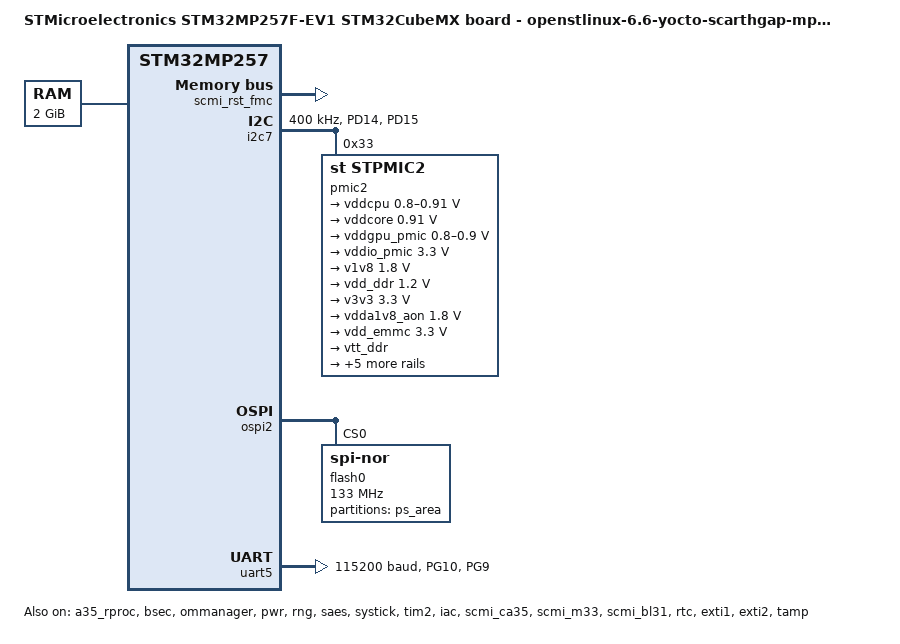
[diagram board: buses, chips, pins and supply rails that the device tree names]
/dts-v1/;
#include "dt-bindings/clock/stm32mp25-clksrc.h"
#include "dt-bindings/reset/stm32mp25-resets.h"
#include <dt-bindings/pinctrl/stm32-pinfunc.h>
#include <dt-bindings/rif/stm32mp25-rif.h>
#include <dt-bindings/rif/stm32mp25-rifsc.h>
#include <dt-bindings/rif/stm32mp2-risaf.h>
#include <dt-bindings/rif/stm32mp25-risab.h>
#include "stm32mp257.dtsi"
#include "stm32mp257f-board_257f-ev1_m33td-mx-rcc.dtsi"
#include "stm32mp257f-board_257f-ev1_m33td-mx-resmem.dtsi"
#include "stm32mp257f-board_257f-ev1_m33td-mx-rif.dtsi"
#include "stm32mp25xxai-pinctrl.dtsi"

/* USER CODE BEGIN includes */
#include <dt-bindings/clock/stm32mp25-clksrc.h>
#include <dt-bindings/ipcc/stm32mp25-ipcc.h>
#include <dt-bindings/power/stm32mp25-power.h>
#include <dt-bindings/regulator/stm32mp25-regulator.h>
#include <dt-bindings/reset/st,stm32mp25-rcc.h>
/* USER CODE END includes */

/{
	model = "STMicroelectronics STM32MP257F-EV1 STM32CubeMX board - openstlinux-6.6-yocto-scarthgap-mpu-v25.01.03";
	compatible = "st,stm32mp257f-board_257f-ev1_m33td-mx", "st,stm32mp257f-ev1", "st,stm32mp257";

	/* USER CODE BEGIN root */
	stm32mp25-scmi-rst {
		scmi_rst_fmc:scmi_rst_fmc {
			compatible = "st,stm32mp25-scmi-rst";
			resets = <&rcc_reset FMC_R>;
			reset-names = "fmc";
			scmi-id = <RST_SCMI_FMC>;
		};
	};

	stm32mp25-scmi-clk {
		scmi_clk_icn_sdmmc:ck_icn_sdmmc {
			compatible = "st,stm32mp25-scmi-clk";
			clocks = <&rcc CK_ICN_SDMMC>;
			scmi-id = <CK_SCMI_ICN_SDMMC>;
		};
		scmi_clk_icn_ddr:ck_icn_ddr {
			compatible = "st,stm32mp25-scmi-clk";
			clocks = <&rcc CK_ICN_DDR>;
			scmi-id = <CK_SCMI_ICN_DDR>;
		};
		scmi_clk_icn_display:ck_icn_display {
			compatible = "st,stm32mp25-scmi-clk";
			clocks = <&rcc CK_ICN_DISPLAY>;
			scmi-id = <CK_SCMI_ICN_DISPLAY>;
		};
		scmi_clk_icn_hsl:ck_icn_hsl {
			compatible = "st,stm32mp25-scmi-clk";
			clocks = <&rcc CK_ICN_HSL>;
			scmi-id = <CK_SCMI_ICN_HSL>;
		};
		scmi_clk_icn_nic:ck_icn_nic {
			compatible = "st,stm32mp25-scmi-clk";
			clocks = <&rcc CK_ICN_NIC>;
			scmi-id = <CK_SCMI_ICN_NIC>;
		};
		scmi_clk_icn_vid:ck_icn_vid {
			compatible = "st,stm32mp25-scmi-clk";
			clocks = <&rcc CK_ICN_VID>;
			scmi-id = <CK_SCMI_ICN_VID>;
		};
			scmi_clk_flexgen_07:ck_flexgen_07 {
			compatible = "st,stm32mp25-scmi-clk";
			clocks = <&rcc CK_FLEXGEN_07>;
			scmi-id = <CK_SCMI_FLEXGEN_07>;
		};
		scmi_clk_flexgen_08:ck_flexgen_08 {
			compatible = "st,stm32mp25-scmi-clk";
			clocks = <&rcc CK_FLEXGEN_08>;
			scmi-id = <CK_SCMI_FLEXGEN_08>;
		};
		scmi_clk_flexgen_09:ck_flexgen_09 {
			compatible = "st,stm32mp25-scmi-clk";
			clocks = <&rcc CK_FLEXGEN_09>;
			scmi-id = <CK_SCMI_FLEXGEN_09>;
		};
		scmi_clk_flexgen_10:ck_flexgen_10 {
			compatible = "st,stm32mp25-scmi-clk";
			clocks = <&rcc CK_FLEXGEN_10>;
			scmi-id = <CK_SCMI_FLEXGEN_10>;
			rate;
		};
		scmi_clk_flexgen_11:ck_flexgen_11 {
			compatible = "st,stm32mp25-scmi-clk";
			clocks = <&rcc CK_FLEXGEN_11>;
			scmi-id = <CK_SCMI_FLEXGEN_11>;
		};
		scmi_clk_flexgen_12:ck_flexgen_12 {
			compatible = "st,stm32mp25-scmi-clk";
			clocks = <&rcc CK_FLEXGEN_12>;
			scmi-id = <CK_SCMI_FLEXGEN_12>;
		};
		scmi_clk_flexgen_13:ck_flexgen_13 {
			compatible = "st,stm32mp25-scmi-clk";
			clocks = <&rcc CK_FLEXGEN_13>;
			scmi-id = <CK_SCMI_FLEXGEN_13>;
		};
		scmi_clk_flexgen_14:ck_flexgen_14 {
			compatible = "st,stm32mp25-scmi-clk";
			clocks = <&rcc CK_FLEXGEN_14>;
			scmi-id = <CK_SCMI_FLEXGEN_14>;
		};
		scmi_clk_flexgen_15:ck_flexgen_15 {
			compatible = "st,stm32mp25-scmi-clk";
			clocks = <&rcc CK_FLEXGEN_15>;
			scmi-id = <CK_SCMI_FLEXGEN_15>;
		};
		scmi_clk_flexgen_16:ck_flexgen_16 {
			compatible = "st,stm32mp25-scmi-clk";
			clocks = <&rcc CK_FLEXGEN_16>;
			scmi-id = <CK_SCMI_FLEXGEN_16>;
			rate;
		};
		scmi_clk_flexgen_17:ck_flexgen_17 {
			compatible = "st,stm32mp25-scmi-clk";
			clocks = <&rcc CK_FLEXGEN_17>;
			scmi-id = <CK_SCMI_FLEXGEN_17>;
		};
		scmi_clk_flexgen_18:ck_flexgen_18 {
			compatible = "st,stm32mp25-scmi-clk";
			clocks = <&rcc CK_FLEXGEN_18>;
			scmi-id = <CK_SCMI_FLEXGEN_18>;
		};
		scmi_clk_flexgen_19:ck_flexgen_19 {
			compatible = "st,stm32mp25-scmi-clk";
			clocks = <&rcc CK_FLEXGEN_19>;
			scmi-id = <CK_SCMI_FLEXGEN_19>;
		};
		scmi_clk_flexgen_20:ck_flexgen_20 {
			compatible = "st,stm32mp25-scmi-clk";
			clocks = <&rcc CK_FLEXGEN_20>;
			scmi-id = <CK_SCMI_FLEXGEN_20>;
		};
		scmi_clk_flexgen_21:ck_flexgen_21 {
			compatible = "st,stm32mp25-scmi-clk";
			clocks = <&rcc CK_FLEXGEN_21>;
			scmi-id = <CK_SCMI_FLEXGEN_21>;
		};
		scmi_clk_flexgen_22:ck_flexgen_22 {
			compatible = "st,stm32mp25-scmi-clk";
			clocks = <&rcc CK_FLEXGEN_22>;
			scmi-id = <CK_SCMI_FLEXGEN_22>;
		};
		scmi_clk_flexgen_23:ck_flexgen_23 {
			compatible = "st,stm32mp25-scmi-clk";
			clocks = <&rcc CK_FLEXGEN_23>;
			scmi-id = <CK_SCMI_FLEXGEN_23>;
			rate;
		};
		scmi_clk_flexgen_24:ck_flexgen_24 {
			compatible = "st,stm32mp25-scmi-clk";
			clocks = <&rcc CK_FLEXGEN_24>;
			scmi-id = <CK_SCMI_FLEXGEN_24>;
			rate;
		};
		scmi_clk_flexgen_25:ck_flexgen_25 {
			compatible = "st,stm32mp25-scmi-clk";
			clocks = <&rcc CK_FLEXGEN_25>;
			scmi-id = <CK_SCMI_FLEXGEN_25>;
			rate;
		};
		scmi_clk_flexgen_26:ck_flexgen_26 {
			compatible = "st,stm32mp25-scmi-clk";
			clocks = <&rcc CK_FLEXGEN_26>;
			scmi-id = <CK_SCMI_FLEXGEN_26>;
		};
		scmi_clk_flexgen_27:ck_flexgen_27 {
			compatible = "st,stm32mp25-scmi-clk";
			clocks = <&rcc CK_FLEXGEN_27>;
			scmi-id = <CK_SCMI_FLEXGEN_27>;
			rate;
		};
		scmi_clk_flexgen_28:ck_flexgen_28 {
			compatible = "st,stm32mp25-scmi-clk";
			clocks = <&rcc CK_FLEXGEN_28>;
			scmi-id = <CK_SCMI_FLEXGEN_28>;
		};
		scmi_clk_flexgen_29:ck_flexgen_29 {
			compatible = "st,stm32mp25-scmi-clk";
			clocks = <&rcc CK_FLEXGEN_29>;
			scmi-id = <CK_SCMI_FLEXGEN_29>;
		};
		scmi_clk_flexgen_30:ck_flexgen_30 {
			compatible = "st,stm32mp25-scmi-clk";
			clocks = <&rcc CK_FLEXGEN_30>;
			scmi-id = <CK_SCMI_FLEXGEN_30>;
		};
		scmi_clk_flexgen_31:ck_flexgen_31 {
			compatible = "st,stm32mp25-scmi-clk";
			clocks = <&rcc CK_FLEXGEN_31>;
			scmi-id = <CK_SCMI_FLEXGEN_31>;
		};
		scmi_clk_flexgen_32:ck_flexgen_32 {
			compatible = "st,stm32mp25-scmi-clk";
			clocks = <&rcc CK_FLEXGEN_32>;
			scmi-id = <CK_SCMI_FLEXGEN_32>;
		};
		scmi_clk_flexgen_33:ck_flexgen_33 {
			compatible = "st,stm32mp25-scmi-clk";
			clocks = <&rcc CK_FLEXGEN_33>;
			scmi-id = <CK_SCMI_FLEXGEN_33>;
		};
		scmi_clk_flexgen_34:ck_flexgen_34 {
			compatible = "st,stm32mp25-scmi-clk";
			clocks = <&rcc CK_FLEXGEN_34>;
			scmi-id = <CK_SCMI_FLEXGEN_34>;
		};
		scmi_clk_flexgen_35:ck_flexgen_35 {
			compatible = "st,stm32mp25-scmi-clk";
			clocks = <&rcc CK_FLEXGEN_35>;
			scmi-id = <CK_SCMI_FLEXGEN_35>;
		};
		scmi_clk_flexgen_36:ck_flexgen_36 {
			compatible = "st,stm32mp25-scmi-clk";
			clocks = <&rcc CK_FLEXGEN_36>;
			scmi-id = <CK_SCMI_FLEXGEN_36>;
		};
		scmi_clk_flexgen_37:ck_flexgen_37 {
			compatible = "st,stm32mp25-scmi-clk";
			clocks = <&rcc CK_FLEXGEN_37>;
			scmi-id = <CK_SCMI_FLEXGEN_37>;
		};
		scmi_clk_flexgen_38:ck_flexgen_38 {
			compatible = "st,stm32mp25-scmi-clk";
			clocks = <&rcc CK_FLEXGEN_38>;
			scmi-id = <CK_SCMI_FLEXGEN_38>;
		};
		scmi_clk_flexgen_39:ck_flexgen_39 {
			compatible = "st,stm32mp25-scmi-clk";
			clocks = <&rcc CK_FLEXGEN_39>;
			scmi-id = <CK_SCMI_FLEXGEN_39>;
		};
		scmi_clk_flexgen_40:ck_flexgen_40 {
			compatible = "st,stm32mp25-scmi-clk";
			clocks = <&rcc CK_FLEXGEN_40>;
			scmi-id = <CK_SCMI_FLEXGEN_40>;
		};
		scmi_clk_flexgen_41:ck_flexgen_41 {
			compatible = "st,stm32mp25-scmi-clk";
			clocks = <&rcc CK_FLEXGEN_41>;
			scmi-id = <CK_SCMI_FLEXGEN_41>;
		};
		scmi_clk_flexgen_42:ck_flexgen_42 {
			compatible = "st,stm32mp25-scmi-clk";
			clocks = <&rcc CK_FLEXGEN_42>;
			scmi-id = <CK_SCMI_FLEXGEN_42>;
		};
		scmi_clk_flexgen_43:ck_flexgen_43 {
			compatible = "st,stm32mp25-scmi-clk";
			clocks = <&rcc CK_FLEXGEN_43>;
			scmi-id = <CK_SCMI_FLEXGEN_43>;
		};
		scmi_clk_flexgen_44:ck_flexgen_44 {
			compatible = "st,stm32mp25-scmi-clk";
			clocks = <&rcc CK_FLEXGEN_44>;
			scmi-id = <CK_SCMI_FLEXGEN_44>;
		};
		scmi_clk_flexgen_45:ck_flexgen_45 {
			compatible = "st,stm32mp25-scmi-clk";
			clocks = <&rcc CK_FLEXGEN_45>;
			scmi-id = <CK_SCMI_FLEXGEN_45>;
		};
		scmi_clk_flexgen_46:ck_flexgen_46 {
			compatible = "st,stm32mp25-scmi-clk";
			clocks = <&rcc CK_FLEXGEN_46>;
			scmi-id = <CK_SCMI_FLEXGEN_46>;
		};
		scmi_clk_flexgen_47:ck_flexgen_47 {
			compatible = "st,stm32mp25-scmi-clk";
			clocks = <&rcc CK_FLEXGEN_47>;
			scmi-id = <CK_SCMI_FLEXGEN_47>;
		};
		scmi_clk_flexgen_48:ck_flexgen_48 {
			compatible = "st,stm32mp25-scmi-clk";
			clocks = <&rcc CK_FLEXGEN_48>;
			scmi-id = <CK_SCMI_FLEXGEN_48>;
		};
		scmi_clk_flexgen_49:ck_flexgen_49 {
			compatible = "st,stm32mp25-scmi-clk";
			clocks = <&rcc CK_FLEXGEN_49>;
			scmi-id = <CK_SCMI_FLEXGEN_49>;
		};
		scmi_clk_flexgen_50:ck_flexgen_50 {
			compatible = "st,stm32mp25-scmi-clk";
			clocks = <&rcc CK_FLEXGEN_50>;
			scmi-id = <CK_SCMI_FLEXGEN_50>;
		};
		scmi_clk_flexgen_51:ck_flexgen_51 {
			compatible = "st,stm32mp25-scmi-clk";
			clocks = <&rcc CK_FLEXGEN_51>;
			scmi-id = <CK_SCMI_FLEXGEN_51>;
		};
		scmi_clk_flexgen_52:ck_flexgen_52 {
			compatible = "st,stm32mp25-scmi-clk";
			clocks = <&rcc CK_FLEXGEN_52>;
			scmi-id = <CK_SCMI_FLEXGEN_52>;
		};
		scmi_clk_flexgen_53:ck_flexgen_53 {
			compatible = "st,stm32mp25-scmi-clk";
			clocks = <&rcc CK_FLEXGEN_53>;
			scmi-id = <CK_SCMI_FLEXGEN_53>;
		};
		scmi_clk_flexgen_54:ck_flexgen_54 {
			compatible = "st,stm32mp25-scmi-clk";
			clocks = <&rcc CK_FLEXGEN_54>;
			scmi-id = <CK_SCMI_FLEXGEN_54>;
		};
		scmi_clk_flexgen_55:ck_flexgen_55 {
			compatible = "st,stm32mp25-scmi-clk";
			clocks = <&rcc CK_FLEXGEN_55>;
			scmi-id = <CK_SCMI_FLEXGEN_55>;
		};
		scmi_clk_flexgen_56:ck_flexgen_56 {
			compatible = "st,stm32mp25-scmi-clk";
			clocks = <&rcc CK_FLEXGEN_56>;
			scmi-id = <CK_SCMI_FLEXGEN_56>;
		};
		scmi_clk_flexgen_57:ck_flexgen_57 {
			compatible = "st,stm32mp25-scmi-clk";
			clocks = <&rcc CK_FLEXGEN_57>;
			scmi-id = <CK_SCMI_FLEXGEN_57>;
		};
		scmi_clk_flexgen_58:ck_flexgen_58 {
			compatible = "st,stm32mp25-scmi-clk";
			clocks = <&rcc CK_FLEXGEN_58>;
			scmi-id = <CK_SCMI_FLEXGEN_58>;
		};
		scmi_clk_flexgen_59:ck_flexgen_59 {
			compatible = "st,stm32mp25-scmi-clk";
			clocks = <&rcc CK_FLEXGEN_59>;
			scmi-id = <CK_SCMI_FLEXGEN_59>;
		};
		scmi_clk_flexgen_60:ck_flexgen_60 {
			compatible = "st,stm32mp25-scmi-clk";
			clocks = <&rcc CK_FLEXGEN_60>;
			scmi-id = <CK_SCMI_FLEXGEN_60>;
		};
		scmi_clk_flexgen_61:ck_flexgen_61 {
			compatible = "st,stm32mp25-scmi-clk";
			clocks = <&rcc CK_FLEXGEN_61>;
			scmi-id = <CK_SCMI_FLEXGEN_61>;
		};
		scmi_clk_flexgen_62:ck_flexgen_62 {
			compatible = "st,stm32mp25-scmi-clk";
			clocks = <&rcc CK_FLEXGEN_62>;
			scmi-id = <CK_SCMI_FLEXGEN_62>;
		};
		scmi_clk_flexgen_63:ck_flexgen_63 {
			compatible = "st,stm32mp25-scmi-clk";
			clocks = <&rcc CK_FLEXGEN_63>;
			scmi-id = <CK_SCMI_FLEXGEN_63>;
		};
		scmi_clk_gpioa:ck_bus_gpioa {
			compatible = "st,stm32mp25-scmi-clk";
			clocks = <&rcc CK_BUS_GPIOA>;
			scmi-id = <CK_SCMI_GPIOA>;
		};
		scmi_clk_gpiob:ck_bus_gpiob {
			compatible = "st,stm32mp25-scmi-clk";
			clocks = <&rcc CK_BUS_GPIOB>;
			scmi-id = <CK_SCMI_GPIOB>;
		};
		scmi_clk_gpioc:ck_bus_gpioc {
			compatible = "st,stm32mp25-scmi-clk";
			clocks = <&rcc CK_BUS_GPIOC>;
			scmi-id = <CK_SCMI_GPIOC>;
		};
		scmi_clk_gpiod:ck_bus_gpiod {
			compatible = "st,stm32mp25-scmi-clk";
			clocks = <&rcc CK_BUS_GPIOD>;
			scmi-id = <CK_SCMI_GPIOD>;
		};
		scmi_clk_gpioe:ck_bus_gpioe {
			compatible = "st,stm32mp25-scmi-clk";
			clocks = <&rcc CK_BUS_GPIOE>;
			scmi-id = <CK_SCMI_GPIOE>;
		};
		scmi_clk_gpiof:ck_bus_gpiof {
			compatible = "st,stm32mp25-scmi-clk";
			clocks = <&rcc CK_BUS_GPIOF>;
			scmi-id = <CK_SCMI_GPIOF>;
		};
		scmi_clk_gpiog:ck_bus_gpiog {
			compatible = "st,stm32mp25-scmi-clk";
			clocks = <&rcc CK_BUS_GPIOG>;
			scmi-id = <CK_SCMI_GPIOG>;
		};
		scmi_clk_gpioh: scmi_clk_gpioh {
			compatible = "st,stm32mp25-scmi-clk";
			clocks = <&rcc CK_BUS_GPIOH>;
			scmi-id = <CK_SCMI_GPIOH>;
		};
		scmi_clk_gpioi:ck_bus_gpioi {
			compatible = "st,stm32mp25-scmi-clk";
			clocks = <&rcc CK_BUS_GPIOI>;
			scmi-id = <CK_SCMI_GPIOI>;
		};
		scmi_clk_gpioj:ck_bus_gpioj {
			compatible = "st,stm32mp25-scmi-clk";
			clocks = <&rcc CK_BUS_GPIOJ>;
			scmi-id = <CK_SCMI_GPIOJ>;
		};
		scmi_clk_gpiok:ck_bus_gpiok {
			compatible = "st,stm32mp25-scmi-clk";
			clocks = <&rcc CK_BUS_GPIOK>;
			scmi-id = <CK_SCMI_GPIOK>;
		};
		 scmi_clk_gpioz:ck_bus_gpioz {
			compatible = "st,stm32mp25-scmi-clk";
			clocks = <&rcc CK_BUS_GPIOZ>;
			scmi-id = <CK_SCMI_GPIOZ>;
		};
		scmi_clk_icn_ls_mcu:ck_icn_ls_mcu {
			compatible = "st,stm32mp25-scmi-clk";
			clocks = <&rcc CK_ICN_LS_MCU>;
			scmi-id = <CK_SCMI_ICN_LS_MCU>;
		};
		scmi_clk_hse:hse_ck {
			compatible = "st,stm32mp25-scmi-clk";
			clocks = <&rcc HSE_CK>;
			scmi-id = <CK_SCMI_HSE>;
		};
		scmi_clk_lse:lse_ck {
			compatible = "st,stm32mp25-scmi-clk";
			clocks = <&rcc LSE_CK>;
			scmi-id = <CK_SCMI_LSE>;
		};
		scmi_clk_hsi:hsi_ck {
			compatible = "st,stm32mp25-scmi-clk";
			clocks = <&rcc HSI_CK>;
			scmi-id = <CK_SCMI_HSI>;
		};
		scmi_clk_lsi:lsi_ck {
			compatible = "st,stm32mp25-scmi-clk";
			clocks = <&rcc LSI_CK>;
			scmi-id = <CK_SCMI_LSI>;
		};
		scmi_clk_msi:msi_ck {
			compatible = "st,stm32mp25-scmi-clk";
			clocks = <&rcc MSI_CK>;
			scmi-id = <CK_SCMI_MSI>;
		};
		scmi_clk_rtcck:rtc_ck {
			compatible = "st,stm32mp25-scmi-clk";
			clocks = <&rcc RTC_CK>;
			scmi-id = <CK_SCMI_RTCCK>;
		};
		scmi_clk_icn_apb1:ck_icn_apb1 {
			compatible = "st,stm32mp25-scmi-clk";
			clocks = <&rcc CK_ICN_APB1>;
			scmi-id = <CK_SCMI_ICN_APB1>;
		};
		scmi_clk_icn_apb2:ck_icn_apb2 {
			compatible = "st,stm32mp25-scmi-clk";
			clocks = <&rcc CK_ICN_APB2>;
			scmi-id = <CK_SCMI_ICN_APB2>;
		};
		scmi_clk_icn_apb3:ck_icn_apb3 {
			compatible = "st,stm32mp25-scmi-clk";
			clocks = <&rcc CK_ICN_APB3>;
			scmi-id = <CK_SCMI_ICN_APB3>;
		};
		scmi_clk_icn_apb4:ck_icn_apb4 {
			compatible = "st,stm32mp25-scmi-clk";
			clocks = <&rcc CK_ICN_APB4>;
			scmi-id = <CK_SCMI_ICN_APB4>;
		};
		scmi_clk_icn_apbdbg:ck_icn_apbdbg {
			compatible = "st,stm32mp25-scmi-clk";
			clocks = <&rcc CK_ICN_APBDBG>;
			scmi-id = <CK_SCMI_ICN_APBDBG>;
		};
		scmi_clk_timg1:timg1_ck {
			compatible = "st,stm32mp25-scmi-clk";
			clocks = <&rcc TIMG1_CK>;
			scmi-id = <CK_SCMI_TIMG1>;
		};
		scmi_clk_timg2:timg2_ck {
			compatible = "st,stm32mp25-scmi-clk";
			clocks = <&rcc TIMG2_CK>;
			scmi-id = <CK_SCMI_TIMG2>;
		};
		scmi_clk_bkpsram:ck_bus_bkpsram {
			compatible = "st,stm32mp25-scmi-clk";
			clocks = <&rcc CK_BUS_BKPSRAM>;
			scmi-id = <CK_SCMI_BKPSRAM>;
		};
		scmi_clk_bsec:ck_bus_bsec {
			compatible = "st,stm32mp25-scmi-clk";
			clocks = <&rcc CK_BUS_BSEC>;
			scmi-id = <CK_SCMI_BSEC>;
		};
		scmi_clk_bus_etr:ck_icn_p_etr {
			compatible = "st,stm32mp25-scmi-clk";
			clocks = <&rcc CK_BUS_ETR>;
			scmi-id = <CK_SCMI_BUS_ETR>;
		};
		scmi_clk_fmc:ck_ker_fmc {
			compatible = "st,stm32mp25-scmi-clk";
			clocks = <&rcc CK_KER_FMC>;
			scmi-id = <CK_SCMI_FMC>;
		};
		scmi_clk_hpdma1:ck_bus_hpdma1 {
			compatible = "st,stm32mp25-scmi-clk";
			clocks = <&rcc CK_BUS_HPDMA1>;
			scmi-id = <CK_SCMI_HPDMA1>;
		};
		scmi_clk_hpdma2:ck_bus_hpdma2 {
			compatible = "st,stm32mp25-scmi-clk";
			clocks = <&rcc CK_BUS_HPDMA2>;
			scmi-id = <CK_SCMI_HPDMA2>;
		};
		scmi_clk_hpdma3:ck_bus_hpdma3 {
			compatible = "st,stm32mp25-scmi-clk";
			clocks = <&rcc CK_BUS_HPDMA3>;
			scmi-id = <CK_SCMI_HPDMA3>;
		};
		scmi_clk_hsem:scmi_clk_hsem {
			compatible = "st,stm32mp25-scmi-clk";
			clocks = <&rcc CK_BUS_HSEM>;
			scmi-id = <CK_SCMI_HSEM>;
		};
		scmi_clk_ipcc1:scmi_clk_ipcc1 {
			compatible = "st,stm32mp25-scmi-clk";
			clocks = <&rcc CK_BUS_IPCC1>;
			scmi-id = <CK_SCMI_IPCC1>;
		};
		scmi_clk_ipcc2:scmi_clk_ipcc2 {
			compatible = "st,stm32mp25-scmi-clk";
			clocks = <&rcc CK_BUS_IPCC2>;
			scmi-id = <CK_SCMI_IPCC2>;
		};
		scmi_clk_lpdma:scmi_clk_lpdma {
			compatible = "st,stm32mp25-scmi-clk";
			clocks = <&rcc CK_BUS_LPDMA>;
			scmi-id = <CK_SCMI_LPDMA>;
		};
		scmi_clk_retram:scmi_clk_retram {
			compatible = "st,stm32mp25-scmi-clk";
			clocks = <&rcc CK_BUS_RETRAM>;
			scmi-id = <CK_SCMI_RETRAM>;
		};
		scmi_clk_rtc:scmi_clk_rtc {
			compatible = "st,stm32mp25-scmi-clk";
			clocks = <&rcc CK_BUS_RTC>;
			scmi-id = <CK_SCMI_RTC>;
		};
		scmi_clk_sram1:scmi_clk_sram1 {
			compatible = "st,stm32mp25-scmi-clk";
			clocks = <&rcc CK_BUS_SRAM1>;
			scmi-id = <CK_SCMI_SRAM1>;
		};
		scmi_clk_sram2:scmi_clk_sram2 {
			compatible = "st,stm32mp25-scmi-clk";
			clocks = <&rcc CK_BUS_SRAM2>;
			scmi-id = <CK_SCMI_SRAM2>;
		};
		scmi_clk_syscpu1:scmi_clk_syscpu1 {
			compatible = "st,stm32mp25-scmi-clk";
			clocks = <&rcc CK_BUS_SYSCPU1>;
			scmi-id = <CK_SCMI_SYSCPU1>;
		};
		scmi_clk_cpu1:scmi_clk_cpu1 {
			compatible = "st,stm32mp25-scmi-clk";
			clocks = <&rcc CK_CPU1>;
			scmi-id = <CK_SCMI_CPU1>;
		};
		scmi_clk_hse_div2:hse_div2_ck {
			compatible = "st,stm32mp25-scmi-clk";
			clocks = <&rcc HSE_DIV2_CK>;
			scmi-id = <CK_SCMI_HSE_DIV2>;
		};
		scmi_clk_pll2:ck_pll2 {
			compatible = "st,stm32mp25-scmi-clk";
			clocks = <&rcc PLL2_CK>;
			scmi-id = <CK_SCMI_PLL2>;
		};
		scmi_clk_pll3:ck_pll3 {
		  compatible = "st,stm32mp25-scmi-clk";
			clocks = <&rcc PLL3_CK>;
			scmi-id = <CK_SCMI_PLL3>;
		};
		scmi_clk_lpsram1:ck_lpsram1 {
			compatible = "st,stm32mp25-scmi-clk";
			clocks = <&rcc CK_BUS_LPSRAM1>;
			scmi-id = <CK_SCMI_LPSRAM1>;
		};
		scmi_clk_lpsram2:ck_lpsram2 {
			compatible = "st,stm32mp25-scmi-clk";
			clocks = <&rcc CK_BUS_LPSRAM2>;
			scmi-id = <CK_SCMI_LPSRAM2>;
		};
		scmi_clk_lpsram3:ck_lpsram3 {
			compatible = "st,stm32mp25-scmi-clk";
			clocks = <&rcc CK_BUS_LPSRAM3>;
			scmi-id = <CK_SCMI_LPSRAM3>;
		};

		scmi_clk_vderam:ck_vderam {
			compatible = "st,stm32mp25-scmi-clk";
			clocks = <&rcc CK_BUS_VDERAM>;
			scmi-id = <CK_SCMI_VDERAM>;
		};
		scmi_clk_sysram:ck_sysram {
			compatible = "st,stm32mp25-scmi-clk";
			clocks = <&rcc CK_BUS_SYSRAM>;
			scmi-id = <CK_SCMI_SYSRAM>;
		};
		scmi_clk_ospi1:ck_ospi1 {
			compatible = "st,stm32mp25-scmi-clk";
			clocks = <&rcc CK_KER_OSPI1>;
			scmi-id = <CK_SCMI_OSPI1>;
		};
		scmi_clk_ospi2:ck_ospi2 {
			compatible = "st,stm32mp25-scmi-clk";
			clocks = <&rcc CK_KER_OSPI2>;
			scmi-id = <CK_SCMI_OSPI2>;
		};
		scmi_clk_tpiu:ck_tpiu {
			compatible = "st,stm32mp25-scmi-clk";
			clocks = <&rcc CK_KER_TPIU>;
			scmi-id = <CK_SCMI_TPIU>;
		};
		scmi_clk_sysdbg:ck_sysdbg {
			compatible = "st,stm32mp25-scmi-clk";
			clocks = <&rcc CK_SYSDBG>;
			scmi-id = <CK_SCMI_SYSDBG>;
		};
		scmi_clk_sysatb:ck_sysatb {
			compatible = "st,stm32mp25-scmi-clk";
			clocks = <&rcc CK_BUS_SYSATB>;
			scmi-id = <CK_SCMI_SYSATB>;
		};
		scmi_clk_tsdbg:ck_tsdbg {
			compatible = "st,stm32mp25-scmi-clk";
			clocks = <&rcc CK_KER_TSDBG>;
			scmi-id = <CK_SCMI_TSDBG>;
		};
		scmi_clk_ker_etr:ck_ker_etr {
			compatible = "st,stm32mp25-scmi-clk";
			clocks = <&rcc CK_KER_ETR>;
			scmi-id = <CK_SCMI_KER_ETR>;
		};
		scmi_clk_bus_stm:ck_bus_stm {
			compatible = "st,stm32mp25-scmi-clk";
			clocks = <&rcc CK_BUS_STM>;
			scmi-id = <CK_SCMI_BUS_STM>;
		};
		scmi_clk_hsi_ker_ck:ck_hsi_ker {
			compatible = "st,stm32mp25-scmi-clk";
			clocks = <&rcc HSI_KER_CK>;
			scmi-id = <CK_SCMI_HSI_KER_CK>;
		};
		scmi_clk_hse_ker_ck:ck_hse_ker {
			compatible = "st,stm32mp25-scmi-clk";
			clocks = <&rcc HSE_KER_CK>;
			scmi-id = <CK_SCMI_HSE_KER_CK>;
		};
		scmi_clk_msi_ker_ck:ck_msi_ker {
			compatible = "st,stm32mp25-scmi-clk";
			clocks = <&rcc MSI_KER_CK>;
			scmi-id = <CK_SCMI_MSI_KER_CK>;
		};
		scmi_clk_gpioz_am:ck_gpioz_am {
			compatible = "st,stm32mp25-scmi-clk";
			clocks = <&rcc CK_GPIOZ_AM>;
			scmi-id = <CK_SCMI_GPIOZ_AM>;
		};
		scmi_clk_ipcc2_am:ck_ipcc2_am {
			compatible = "st,stm32mp25-scmi-clk";
			clocks = <&rcc CK_IPCC2_AM>;
			scmi-id = <CK_SCMI_IPCC2_AM>;
		};
		scmi_clk_lpdma_am:ck_lpdma_am {
			compatible = "st,stm32mp25-scmi-clk";
			clocks = <&rcc CK_LPDMA_AM>;
			scmi-id = <CK_SCMI_LPDMA_AM>;
		};
		scmi_clk_rtc_am:ck_rtc_am {
			compatible = "st,stm32mp25-scmi-clk";
			clocks = <&rcc CK_RTC_AM>;
			scmi-id = <CK_SCMI_RTC_AM>;
		};
		scmi_clk_ker_stm:ck_ker_stm {
			compatible = "st,stm32mp25-scmi-clk";
			clocks = <&rcc CK_KER_STM>;
			scmi-id = <CK_SCMI_KER_STM>;
		};
	};

	stm32mp25-scmi-regu {
		scmi_vddcpu:voltd-vddcpu {
			compatible = "st,stm32mp25-scmi-regu";
			regu = <&vddcpu>;
			scmi-id = <VOLTD_SCMI_STPMIC2_BUCK1>;
		};
		scmi_vddcore:voltd-vddcore {
			compatible = "st,stm32mp25-scmi-regu";
			regu = <&vddcore>;
			scmi-id = <VOLTD_SCMI_STPMIC2_BUCK2>;
		};
		scmi_v1v8:voltd-v1v8 {
			compatible = "st,stm32mp25-scmi-regu";
			regu = <&v1v8>;
			scmi-id = <VOLTD_SCMI_STPMIC2_BUCK5>;
		};
		scmi_v3v3:voltd-v3v3 {
			compatible = "st,stm32mp25-scmi-regu";
			regu = <&v3v3>;
			scmi-id = <VOLTD_SCMI_STPMIC2_BUCK7>;
		};
		scmi_vdd_emmc:voltd-vdd-emmc {
			compatible = "st,stm32mp25-scmi-regu";
			regu = <&vdd_emmc>;
			scmi-id = <VOLTD_SCMI_STPMIC2_LDO2>;
		};
		 scmi_vdd3v3_usb:voltd-vdd3v3-usb {
			compatible = "st,stm32mp25-scmi-regu";
			regu = <&vdd3v3_usb>;
			scmi-id = <VOLTD_SCMI_STPMIC2_LDO4>;
		};
		scmi_vdd_sdcard:voltd-vdd_sdcard {
			compatible = "st,stm32mp25-scmi-regu";
			regu = <&vdd_sdcard>;
			scmi-id = < VOLTD_SCMI_STPMIC2_LDO7>;
		};
		scmi_vddio1:voltd-vddio1 {
			compatible = "st,stm32mp25-scmi-regu";
			regu = <&vddio1>;
			scmi-id = <VOLTD_SCMI_VDDIO1>;
		};
		scmi_vddio2:voltd-vddio2 {
			compatible = "st,stm32mp25-scmi-regu";
			regu = <&vddio2>;
			scmi-id = <VOLTD_SCMI_VDDIO2>;
		};
		scmi_vddio3:voltd-vddio3 {
			compatible = "st,stm32mp25-scmi-regu";
			regu = <&vddio3>;
			scmi-id = <VOLTD_SCMI_VDDIO3>;
		};
		scmi_vddio4:voltd-vddio4 {
			compatible = "st,stm32mp25-scmi-regu";
			regu = <&vddio4>;
			scmi-id = <VOLTD_SCMI_VDDIO4>;
		};
		scmi_vdd33ucpd:voltd-vdd33ucpd {
			compatible = "st,stm32mp25-scmi-regu";
			regu = <&vdd33ucpd>;
			scmi-id = <VOLTD_SCMI_UCPD>;
		};
		scmi_vdda18adc:voltd-vdda18adc {
			compatible = "st,stm32mp25-scmi-regu";
			regu = <&vdda18adc>;
			scmi-id = <VOLTD_SCMI_ADC>;
		};
		scmi_vddgpu:voltd-vddgpu {
			compatible = "st,stm32mp25-scmi-regu";
			regu = <&vddgpu>;
			scmi-id = <VOLTD_SCMI_GPU>;
		};
	};

	stm32mp25-scmi-pd {
		scmi_pd_gpu:scmi_pd_gpu {
			compatible = "st,stm32mp25-scmi-pd";
			scmi-id = <PD_SCMI_GPU>;
			clocks = <&rcc PLL3_CK>;
			regu = <&vddgpu>;
		};
	};
	aliases{
		serial0 = &uart5;
	};

	chosen{
		stdout-device = &uart5;
		tfm,entropy = &rng;
	};
	/* USER CODE END root */

	memory@80000000{
		device_type = "memory";
		reg = <0x80000000 0x80000000>;
	};
};

&pinctrl {

	i2c7_pins_mx:i2c7_mx-0{

		pins{
			pinmux = <STM32_PINMUX('D', 14, AF10)>,
					<STM32_PINMUX('D', 15, AF10)>;
			bias-disable;
			drive-open-drain;
			slew-rate = <0>;
		};
	};

	ospi_port1_clk_pins_mx:ospi_port1_clk_mx-0{

		pins{
			pinmux = <STM32_PINMUX('D', 0, AF10)>;
			bias-disable;
			drive-push-pull;
			slew-rate = <3>;
		};
	};

	ospi_port1_io_pins_mx:ospi_port1_io_mx-0{

		pins{
			pinmux = <STM32_PINMUX('D', 4, AF10)>,
					<STM32_PINMUX('D', 5, AF10)>,
					<STM32_PINMUX('D', 6, AF10)>,
					<STM32_PINMUX('D', 7, AF10)>;
			bias-disable;
			drive-push-pull;
			slew-rate = <3>;
		};
	};

	ospi_port1_ncs_pins_mx:ospi_port1_ncs_mx-0{

		pins{
			pinmux = <STM32_PINMUX('D', 3, AF10)>;
			bias-disable;
			drive-push-pull;
			slew-rate = <3>;
		};
	};

	uart5_pins_mx:uart5_mx-0{

		pins1{
			pinmux = <STM32_PINMUX('G', 10, AF5)>;
			bias-disable;
			drive-push-pull;
		};

		pins2{
			pinmux = <STM32_PINMUX('G', 9, AF5)>;
			bias-disable;
			drive-push-pull;
			slew-rate = <0>;
		};
	};
	
	/* USER CODE BEGIN pinctrl */
	/* USER CODE END pinctrl */
};

&pinctrl_z {
	/* USER CODE BEGIN pinctrl_z */
	/* USER CODE END pinctrl_z */
};

&a35_rproc {
	status = "okay";
};

&bsec {
	status = "okay";

	/* USER CODE BEGIN bsec */
	memory-region = <&bsec_mirror>;
	/* USER CODE END bsec */
};

&i2c7 {
	pinctrl-names = "default";
	pinctrl-0 = <&i2c7_pins_mx>;
	status = "okay";

	/* USER CODE BEGIN i2c7 */
	i2c-scl-rising-time-ns = <185>;
	i2c-scl-falling-time-ns = <20>;
	clock-frequency = <400000>;
	#address-cells = <1>;
	#size-cells = <0>;

	pmic2:stpmic2@33{
		compatible = "st,stpmic2";
		reg = <0x33>;
		status = "okay";

		regulators{
			compatible = "st,stpmic2-regulators";

			vddcpu:buck1{
				regulator-name = "vddcpu";
				regulator-min-microvolt = <800000>;
				regulator-max-microvolt = <910000>;
				regulator-always-on;
			};

			vddcore:buck2{
				regulator-name = "vddcore";
				regulator-min-microvolt = <910000>;
				regulator-max-microvolt = <910000>;
				regulator-always-on;
			};

			vddgpu_pmic:buck3{
				regulator-name = "vddgpu_pmic";
				regulator-min-microvolt = <800000>;
				regulator-max-microvolt = <900000>;
				regulator-always-on;
			};

			vddio_pmic:buck4{
				regulator-name = "vddio_pmic";
				regulator-min-microvolt = <3300000>;
				regulator-max-microvolt = <3300000>;
				regulator-always-on;
			};

			v1v8:buck5{
				regulator-name = "v1v8";
				regulator-min-microvolt = <1800000>;
				regulator-max-microvolt = <1800000>;
				regulator-always-on;
			};

			vdd_ddr:buck6{
				regulator-name = "vdd_ddr";
				regulator-min-microvolt = <1200000>;
				regulator-max-microvolt = <1200000>;
			};

			v3v3:buck7{
				regulator-name = "v3v3";
				regulator-min-microvolt = <3300000>;
				regulator-max-microvolt = <3300000>;
				regulator-always-on;
			};

			vdda1v8_aon:ldo1{
				regulator-name = "vdda1v8_aon";
				regulator-min-microvolt = <1800000>;
				regulator-max-microvolt = <1800000>;
				regulator-always-on;
			};

			vdd_emmc:ldo2{
				regulator-name = "vdd_emmc";
				regulator-min-microvolt = <3300000>;
				regulator-max-microvolt = <3300000>;
			};

			vtt_ddr:ldo3{
				regulator-name = "vtt_ddr";
				st,regulator-sink-source;
			};

			vdd3v3_usb:ldo4{
				regulator-name = "vdd3v3_usb";
				regulator-min-microvolt = <3300000>;
				regulator-max-microvolt = <3300000>;
				regulator-always-on;
			};

			vpp_ddr:ldo5{
				regulator-name = "vpp_ddr";
				regulator-min-microvolt = <2500000>;
				regulator-max-microvolt = <2500000>;
			};

			vdd_sdcard:ldo7{
				regulator-name = "vdd_sdcard";
				regulator-min-microvolt = <3300000>;
				regulator-max-microvolt = <3300000>;
				regulator-always-on;
				st,regulator-bypass-microvolt = <3300000>;
			};

			vddio_sdcard:ldo8{
				regulator-name = "vddio_sdcard";
				regulator-min-microvolt = <1800000>;
				regulator-max-microvolt = <3300000>;
				st,regulator-bypass-microvolt = <3300000>;
			};

			vref_ddr:refddr{
				regulator-name = "vref_ddr";
			};
		};
	};
	/* USER CODE END i2c7 */
};

&ipcc1 {
	status = "okay";
};

&ommanager {
	pinctrl-names = "default";
	pinctrl-0 = <&ospi_port1_clk_pins_mx>, <&ospi_port1_io_pins_mx>, <&ospi_port1_ncs_pins_mx>;
	status = "okay";
	memory-region = <&mm_ospi2>;
	memory-region-names = "mm_ospi2";
};

&ospi2 {
	status = "okay";

	/* USER CODE BEGIN ospi2 */
	#address-cells = <1>;
	#size-cells = <0>;

	flash0:flash@0{
		compatible = "jedec,spi-nor";
		reg = <0>;
		spi-rx-bus-width = <4>;
		spi-tx-bus-width = <4>;
		spi-max-frequency = <133000000>;
		size = <0x4000000>;
		erase-size = <0x1000>;
		write-size = <256>;
		read-cmd = "READ_1_1_4_4B";
		write-cmd = "WRITE_1_4_4_4B";
		erase-cmd = "SE_4B";

		partitions{
			compatible = "fixed-partitions";
			#address-cells = <1>;
			#size-cells = <1>;

			tfm_ps_partition:partition@4{
				label = "ps_area";
				reg = <0x01380000 0x00010000>;
			};
		};
	};
	/* USER CODE END ospi2 */
};

&pwr {
	status = "okay";

	/* USER CODE BEGIN pwr */

	vdd33ucpd:vdd33ucpd{
		status = "okay";
		regulator-min-microvolt = <3300000>;
		regulator-max-microvolt = <3300000>;
		vin-supply = <&vdd3v3_usb>;
		regulator-always-on;
	};

	vdda18adc:vdda18adc{
		status = "okay";
		regulator-min-microvolt = <1800000>;
		regulator-max-microvolt = <1800000>;
		vin-supply = <&v1v8>;
		regulator-always-on;
	};

	vddgpu:vddgpu{
		status = "okay";
		vin-supply = <&vddgpu_pmic>;
	};

	vddio1:vddio1{
		status = "okay";
		regulator-min-microvolt = <1800000>;
		regulator-max-microvolt = <3300000>;
		vin-supply = <&vddio_sdcard>;
	};

	vddio2:vddio2{
		status = "okay";
		vin-supply = <&v1v8>;
		regulator-always-on;
	};

	vddio3:vddio3{
		status = "okay";
		vin-supply = <&vddio_pmic>;
		regulator-always-on;
	};

	vddio4:vddio4{
		status = "okay";
		vin-supply = <&vddio_pmic>;
		regulator-always-on;
	};

	vddio:vddio{
		status = "okay";
		vin-supply = <&vddio_pmic>;
	};
	/* USER CODE END pwr */
};

&rcc {
	status = "okay";
};

&rng {
	status = "okay";
};

&saes {
	status = "okay";
};

&systick {
	status = "okay";

	/* USER CODE BEGIN systick */
	clocks = <&rcc CK_ICN_HS_MCU>;
	clock-frequency = <1000000>;
	/* USER CODE END systick */
};

&tim2 {
	status = "okay";
};

&uart5 {
	pinctrl-names = "default";
	pinctrl-0 = <&uart5_pins_mx>;
	status = "okay";

	/* USER CODE BEGIN uart5 */
	clocks = <&rcc CK_KER_UART5>;
	current-speed = <115200>;
	/* USER CODE END uart5 */
};

&hpdma1 {
	status = "okay";
};

&hpdma2 {
	status = "okay";
};

&hpdma3 {
	status = "okay";
};

/* USER CODE BEGIN addons */

&iac {
	status = "okay";
};

&psa_mbox {
	status = "okay";
	mboxes = <&ipcc1 IPCC_CHANNEL(14)>;
	memory-region = <&psa_buffer_cid1_s>;
};

&scmi_ca35 {
	status = "okay";
	memory-region = <&scmi_cid1_ns>;
	mboxes = <&ipcc1 IPCC_CHANNEL(16)>;
	regu-list = <&scmi_vddcore>, <&scmi_v1v8>, <&scmi_v3v3>, <&scmi_vdd_emmc>,
			<&scmi_vdd3v3_usb>, <&scmi_vdd_sdcard>, <&scmi_vddio1>,
			<&scmi_vddio2>, <&scmi_vddio3>, <&scmi_vddio4>,
			<&scmi_vdd33ucpd>, <&scmi_vdda18adc>;
	regu-id-max = <STMP25_VOLTD_SCMI_MAX>;
	rst-list = <&scmi_rst_fmc>;
	rst-id-max = <STM32MP25_RST_SCMI_MAX>;
	clk-list = <&scmi_clk_icn_sdmmc>, <&scmi_clk_icn_ddr>,
			<&scmi_clk_icn_display>, <&scmi_clk_icn_hsl>,
			<&scmi_clk_icn_nic>, <&scmi_clk_icn_vid>,
			<&scmi_clk_flexgen_07>, <&scmi_clk_flexgen_08>,
			<&scmi_clk_flexgen_09>, <&scmi_clk_flexgen_10>,
			<&scmi_clk_flexgen_11>, <&scmi_clk_flexgen_12>,
			<&scmi_clk_flexgen_13>, <&scmi_clk_flexgen_14>,
			<&scmi_clk_flexgen_15>, <&scmi_clk_flexgen_16>,
			<&scmi_clk_flexgen_17>, <&scmi_clk_flexgen_18>,
			<&scmi_clk_flexgen_19>, <&scmi_clk_flexgen_20>,
			<&scmi_clk_flexgen_21>, <&scmi_clk_flexgen_22>,
			<&scmi_clk_flexgen_23>, <&scmi_clk_flexgen_24>,
			<&scmi_clk_flexgen_25>, <&scmi_clk_flexgen_26>,
			<&scmi_clk_flexgen_27>, <&scmi_clk_flexgen_28>,
			<&scmi_clk_flexgen_29>, <&scmi_clk_flexgen_30>,
			<&scmi_clk_flexgen_31>, <&scmi_clk_flexgen_32>,
			<&scmi_clk_flexgen_33>, <&scmi_clk_flexgen_34>,
			<&scmi_clk_flexgen_35>, <&scmi_clk_flexgen_36>,
			<&scmi_clk_flexgen_37>, <&scmi_clk_flexgen_38>,
			<&scmi_clk_flexgen_39>, <&scmi_clk_flexgen_40>,
			<&scmi_clk_flexgen_41>, <&scmi_clk_flexgen_42>,
			<&scmi_clk_flexgen_43>, <&scmi_clk_flexgen_44>,
			<&scmi_clk_flexgen_45>, <&scmi_clk_flexgen_46>,
			<&scmi_clk_flexgen_47>, <&scmi_clk_flexgen_48>,
			<&scmi_clk_flexgen_49>, <&scmi_clk_flexgen_50>,
			<&scmi_clk_flexgen_51>, <&scmi_clk_flexgen_52>,
			<&scmi_clk_flexgen_53>, <&scmi_clk_flexgen_54>,
			<&scmi_clk_flexgen_55>, <&scmi_clk_flexgen_56>,
			<&scmi_clk_flexgen_57>, <&scmi_clk_flexgen_58>,
			<&scmi_clk_flexgen_59>, <&scmi_clk_flexgen_60>,
			<&scmi_clk_flexgen_61>, <&scmi_clk_flexgen_62>,
			<&scmi_clk_flexgen_63>,
			<&scmi_clk_gpioa>, <&scmi_clk_gpiob>,
			<&scmi_clk_gpioc>, <&scmi_clk_gpiod>,
			<&scmi_clk_gpioe>, <&scmi_clk_gpiof>,
			<&scmi_clk_gpiog>, <&scmi_clk_gpioh>,
			<&scmi_clk_gpioi>, <&scmi_clk_gpioj>,
			<&scmi_clk_gpiok>, <&scmi_clk_gpioz>,
			<&scmi_clk_icn_ls_mcu>, <&scmi_clk_hse>,
			<&scmi_clk_lse>, <&scmi_clk_hsi>, <&scmi_clk_lsi>,
			<&scmi_clk_msi>, <&scmi_clk_rtcck>,
			<&scmi_clk_icn_apb1>, <&scmi_clk_icn_apb2>,
			<&scmi_clk_icn_apb3>, <&scmi_clk_icn_apb4>,
			<&scmi_clk_icn_apbdbg>, <&scmi_clk_timg1>,
			<&scmi_clk_timg2>, <&scmi_clk_bkpsram>,
			<&scmi_clk_bsec>, <&scmi_clk_bus_etr>,
			<&scmi_clk_fmc>, <&scmi_clk_hpdma1>,
			<&scmi_clk_hpdma2>, <&scmi_clk_hpdma3>, <&scmi_clk_hsem>,
			<&scmi_clk_ipcc1>, <&scmi_clk_ipcc2>,
			<&scmi_clk_lpdma>, <&scmi_clk_retram>,
			<&scmi_clk_rtc>, <&scmi_clk_sram1>,
			<&scmi_clk_sram2>, <&scmi_clk_syscpu1>,
			<&scmi_clk_cpu1>, <&scmi_clk_hse_div2>,
			<&scmi_clk_pll2>, <&scmi_clk_pll3>,
			<&scmi_clk_lpsram1>, <&scmi_clk_lpsram2>,
			<&scmi_clk_lpsram3>, <&scmi_clk_vderam>,
			<&scmi_clk_sysram>, <&scmi_clk_ospi1>,
			<&scmi_clk_ospi2>, <&scmi_clk_tpiu>,
			<&scmi_clk_sysdbg>, <&scmi_clk_sysatb>,
			<&scmi_clk_tsdbg>, <&scmi_clk_ker_etr>,
			<&scmi_clk_bus_stm>, <&scmi_clk_hsi_ker_ck>,
			<&scmi_clk_hse_ker_ck>, <&scmi_clk_msi_ker_ck>,
			<&scmi_clk_gpioz_am>, <&scmi_clk_ipcc2_am>,
			<&scmi_clk_lpdma_am>, <&scmi_clk_rtc_am>,
			<&scmi_clk_ker_stm>;
	clk-id-max = <STM32MP25_CK_SCMI_MAX>;
	pd-list = <&scmi_pd_gpu>;
	pd-id-max = <STM32MP25_PD_SCMI_MAX>;
};

&scmi_m33 {
	status = "okay";
	regu-list = <&scmi_vddcore>, <&scmi_v1v8>, <&scmi_v3v3>,
			<&scmi_vdd3v3_usb>;
	regu-id-max = <STMP25_VOLTD_SCMI_MAX>;
	rst-list = <&scmi_rst_fmc>;
	rst-id-max = <STM32MP25_RST_SCMI_MAX>;
	clk-list = <&scmi_clk_icn_display>, <&scmi_clk_gpiob>, <&scmi_clk_flexgen_27>,
			<&scmi_clk_flexgen_07>, <&scmi_clk_flexgen_08>,
			<&scmi_clk_flexgen_09>, <&scmi_clk_flexgen_10>;
	clk-id-max = <STM32MP25_CK_SCMI_MAX>;
	pd-list = <&scmi_pd_gpu>;
	pd-id-max = <STM32MP25_PD_SCMI_MAX>;
};

&scmi_bl31 {
	status = "okay";
	memory-region = <&scmi_cid1_s>;
	mboxes = <&ipcc1 IPCC_CHANNEL(15)>;
	regu-list = <&scmi_vddcpu>;
	regu-id-max = <(VOLTD_SCMI_STPMIC2_BUCK1+1)>;
};
&tim2 {
	status = "okay";

};
&rtc {
	status = "okay";
};

&exti1 {
	status = "okay";
};

&exti2 {
	status = "okay";
};

&tamp {
	status = "okay";
};

&hconf1_otp {
	shadow-provisionning = <0x00018db6>;
};

&cpu0 {
	enable-method = "remoteproc";
	remoteprocs = <&a35_rproc>;
};
&scmi_pd_gpu {
	access-controllers = <&rifsc RIFPROT(STM32MP25_RIFSC_GPU_ID, RIF_UNUSED, RIF_UNLOCK, RIF_NSEC, RIF_PRIV, RIF_CID1, RIF_SEM_DIS, RIF_CFDIS)>;
};	
/* USER CODE END addons */
